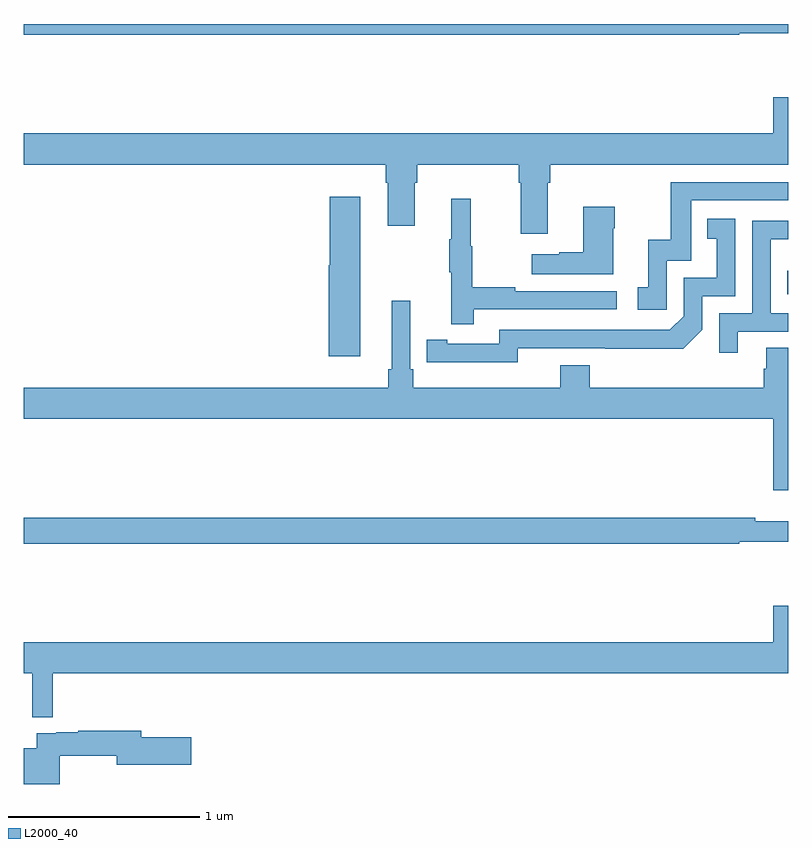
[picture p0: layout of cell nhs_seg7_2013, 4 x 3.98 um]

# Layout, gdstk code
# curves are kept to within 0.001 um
import gdstk
lib = gdstk.Library(unit=1e-6, precision=1e-09)
def R(c, l, rs):  # rectangles x0, y0, x1, y1
    for r in rs: c.add(gdstk.rectangle(r[:2], r[2:], *l))
def P(c, l, *ps):  # polygons
    for p in ps: c.add(gdstk.Polygon(p, *l))
L2000_40 = (2000, 40)

nhs_seg7_2013 = lib.new_cell('nhs_seg7_2013')
R(nhs_seg7_2013, L2000_40, [(248.995,1018.584,249,1018.707)])
P(nhs_seg7_2013, L2000_40, [(248.745,1019.952),(249,1019.952),(249,1020),(245,1020),(245,1019.944),(248.745,1019.944)],
  [(247.741,1019.168),(247.754,1019.168),(247.754,1019.264),(249,1019.264),(249,1019.617),(248.924,1019.617),(248.924,1019.428),(245,1019.428),(245,1019.264),(246.893,1019.264),(246.893,1019.168),(246.905,1019.168),(246.905,1018.944),(247.045,1018.944),(247.045,1019.168),(247.058,1019.168),(247.058,1019.264),(247.589,1019.264),(247.589,1019.168),(247.601,1019.168),(247.601,1018.902),(247.741,1018.902)],
  [(248.364,1018.761),(248.493,1018.761),(248.493,1019.076),(249,1019.076),(249,1019.172),(248.385,1019.172),(248.385,1018.87),(248.267,1018.87),(248.267,1018.623),(248.214,1018.623),(248.214,1018.503),(248.364,1018.503)],
  [(246.76,1019.095),(246.602,1019.095),(246.602,1018.737),(246.596,1018.737),(246.596,1018.26),(246.76,1018.26)],
  [(247.355,1018.506),(248.104,1018.506),(248.104,1018.602),(247.571,1018.602),(247.571,1018.622),(247.348,1018.622),(247.348,1018.836),(247.34,1018.836),(247.34,1019.086),(247.238,1019.086),(247.238,1018.873),(247.227,1018.873),(247.227,1018.699),(247.238,1018.699),(247.238,1018.428),(247.355,1018.428)],
  [(248.086,1018.931),(248.094,1018.931),(248.094,1019.044),(247.928,1019.044),(247.928,1018.805),(247.802,1018.805),(247.802,1018.795),(247.659,1018.795),(247.659,1018.691),(248.086,1018.691)],
  [(247.584,1018.302),(248.452,1018.301),(248.55,1018.398),(248.55,1018.575),(248.724,1018.575),(248.724,1018.981),(248.578,1018.981),(248.578,1018.875),(248.627,1018.875),(248.627,1018.671),(248.454,1018.671),(248.454,1018.47),(248.382,1018.398),(247.488,1018.398),(247.488,1018.326),(247.216,1018.326),(247.216,1018.346),(247.108,1018.346),(247.108,1018.23),(247.584,1018.229)],
  [(248.737,1018.389),(249,1018.389),(249,1018.485),(248.91,1018.485),(248.91,1018.874),(249,1018.874),(249,1018.971),(248.814,1018.971),(248.814,1018.485),(248.64,1018.485),(248.64,1018.278),(248.737,1018.278)],
  [(249,1018.304),(248.885,1018.304),(248.885,1018.194),(248.873,1018.194),(248.873,1018.096),(247.961,1018.096),(247.961,1018.213),(247.808,1018.213),(247.808,1018.096),(247.037,1018.096),(247.037,1018.192),(247.023,1018.192),(247.023,1018.552),(246.926,1018.552),(246.926,1018.192),(246.907,1018.192),(246.907,1018.096),(245,1018.096),(245,1017.932),(248.924,1017.932),(248.924,1017.558),(249,1017.558)],
  [(248.745,1017.288),(249,1017.288),(249,1017.397),(248.828,1017.397),(248.828,1017.416),(245,1017.416),(245,1017.28),(248.745,1017.28)],
  [(245.15,1016.6),(249,1016.6),(249,1016.953),(248.924,1016.953),(248.924,1016.764),(245,1016.764),(245,1016.6),(245.042,1016.6),(245.042,1016.371),(245.15,1016.371)],
  [(245.188,1016.17),(245.486,1016.17),(245.486,1016.123),(245.875,1016.123),(245.875,1016.265),(245.614,1016.265),(245.614,1016.299),(245.284,1016.299),(245.284,1016.292),(245.17,1016.292),(245.17,1016.286),(245.066,1016.286),(245.066,1016.209),(245,1016.209),(245,1016.021),(245.188,1016.021)])

lib.write_gds('nhs_seg7_2013.gds')
